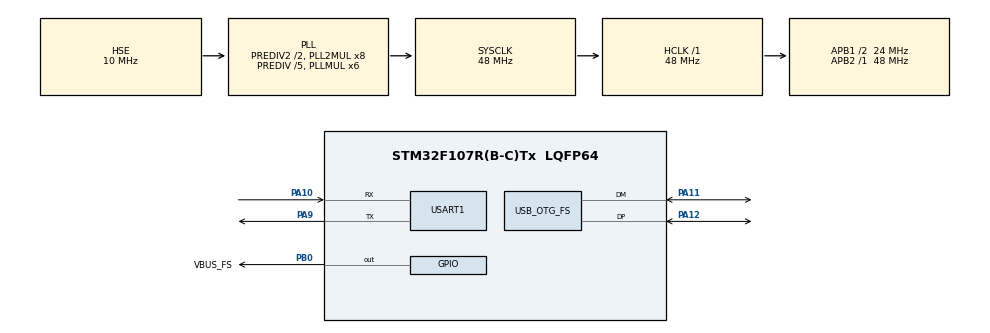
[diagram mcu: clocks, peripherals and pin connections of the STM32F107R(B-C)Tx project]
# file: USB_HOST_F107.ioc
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FREERTOS.Queues01=AppliEvent,10,uint16_t,0,Dynamic,NULL,NULL
FREERTOS.Tasks01=defaultTask,0,128,StartDefaultTask,Default,NULL,Dynamic,NULL,NULL;USB_t,0,256,USB_f,Default,NULL,Dynamic,NULL,NULL
FREERTOS.configTOTAL_HEAP_SIZE=8096
Mcu.Family=STM32F1
Mcu.Name=STM32F107R(B-C)Tx
Mcu.Package=LQFP64
NVIC.OTG_FS_IRQn=true\:5\:0\:false\:false\:true\:true\:false\:true
NVIC.PriorityGroup=NVIC_PRIORITYGROUP_4
NVIC.TIM1_UP_IRQn=true\:15\:0\:false\:false\:true\:false\:false\:true
NVIC.TimeBase=TIM1_UP_IRQn
NVIC.TimeBaseIP=TIM1
NVIC.USART1_IRQn=true\:5\:0\:false\:false\:true\:true\:true\:true
PA10.Mode=Asynchronous
PA10.Signal=USART1_RX
PA11.Mode=Host_Only
PA11.Signal=USB_OTG_FS_DM
PA12.Mode=Host_Only
PA12.Signal=USB_OTG_FS_DP
PA9.Mode=Asynchronous
PA9.Signal=USART1_TX
PB0.GPIO_Label=VBUS_FS
PB0.Signal=GPIO_Output
PD0-OSC_IN.Mode=HSE-External-Oscillator
PD0-OSC_IN.Signal=RCC_OSC_IN
PD1-OSC_OUT.Mode=HSE-External-Oscillator
PD1-OSC_OUT.Signal=RCC_OSC_OUT
ProjectManager.HeapSize=0x200
ProjectManager.StackSize=0x400
ProjectManager.TargetToolchain=STM32CubeIDE
RCC.AHBFreq_Value=48000000
RCC.APB1CLKDivider=RCC_HCLK_DIV2
RCC.APB1Freq_Value=24000000
RCC.APB1TimFreq_Value=48000000
RCC.APB2Freq_Value=48000000
RCC.APB2TimFreq_Value=48000000
RCC.HCLKFreq_Value=48000000
RCC.HSEDivPLL=RCC_HSE_PREDIV_DIV5
RCC.HSE_VALUE=10000000
RCC.PLLMUL=RCC_PLL_MUL6
RCC.PLLSourceVirtual=RCC_PLLSOURCE_HSE
RCC.Prediv1Source=RCC_PREDIV1_SOURCE_PLL2
RCC.Prediv2=RCC_HSE_PREDIV2_DIV2
RCC.SYSCLKFreq_VALUE=48000000
RCC.SYSCLKSource=RCC_SYSCLKSOURCE_PLLCLK
RCC.USBFreq_Value=48000000
RCC.USBPrescaler=RCC_USBCLKSOURCE_PLL_DIV2
USART1.VirtualMode=VM_ASYNC
USB_HOST.BSP.number=1
USB_HOST.USBH_HandleTypeDef=hUsbHostFS
USB_HOST.USBH_MAX_NUM_CONFIGURATION=2
USB_HOST.USBH_MAX_NUM_ENDPOINTS=2
USB_HOST.USBH_MAX_NUM_INTERFACES=2
USB_HOST.USBH_MAX_NUM_SUPPORTED_CLASS=2
USB_HOST.USBH_USE_OS-CDC_FS=0
USB_HOST.VirtualModeFS=Cdc
USB_HOST0.BSP.STBoard=false
USB_HOST0.BSP.api=Unknown
USB_HOST0.BSP.i2caddr=0
USB_HOST0.BSP.instance=PB0
USB_HOST0.BSP.ip=GPIO
USB_HOST0.BSP.mode=Output
USB_HOST0.BSP.name=Drive_VBUS_FS
USB_HOST0.BSP.solution=PB0
USB_OTG_FS.Sof_enable=ENABLE
USB_OTG_FS.VirtualMode=Host_Only
VP_FREERTOS_VS_CMSIS_V1.Mode=CMSIS_V1
VP_SYS_VS_ND.Mode=No_Debug
VP_SYS_VS_tim1.Mode=TIM1
VP_USB_HOST_VS_USB_HOST_CDC_FS.Mode=CDC_FS
board=custom

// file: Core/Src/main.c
/* USER CODE BEGIN Header */
/**
  ******************************************************************************
  * @file           : main.c
  * @brief          : Main program body
  ******************************************************************************
  * @attention
  *
  * <h2><center>&copy; Copyright (c) 2020 STMicroelectronics.
  * All rights reserved.</center></h2>
  *
  * This software component is licensed by ST under Ultimate Liberty license
  * SLA0044, the "License"; You may not use this file except in compliance with
  * the License. You may obtain a copy of the License at:
  *                             www.st.com/SLA0044
  *
  ******************************************************************************
  */
/* USER CODE END Header */
#include "main.h"
#include "cmsis_os.h"
#include "usb_host.h"
#include "usb_host.h"

UART_HandleTypeDef huart1;

osThreadId defaultTaskHandle;
osThreadId USB_tHandle;
osMessageQId AppliEventHandle;
/* USER CODE BEGIN PV */
extern ApplicationTypeDef Appli_state;
/* USER CODE END PV */

void SystemClock_Config(void);
static void MX_GPIO_Init(void);
static void MX_USART1_UART_Init(void);
void StartDefaultTask(void const * argument);
void USB_f(void const * argument);

/* USER CODE BEGIN PFP */
extern uint8_t uart_tx_msg[5];
extern uint8_t uart_rx_msg[5];
/* USER CODE END PFP */

int main(void)
{

  /* MCU Configuration--------------------------------------------------------*/

  /* Reset of all peripherals, Initializes the Flash interface and the Systick. */
  HAL_Init();

  /* Configure the system clock */
  SystemClock_Config();

  /* Initialize all configured peripherals */
  MX_GPIO_Init();
  MX_USART1_UART_Init();
  /* USER CODE BEGIN 2 */

  HAL_Delay(1000);
  HAL_UART_Transmit(&huart1,"start",5,100);
  HAL_UART_Receive_IT(&huart1,uart_tx_msg,1);

  /* USER CODE END 2 */

  /* Create the queue(s) */
  /* definition and creation of AppliEvent */
  osMessageQDef(AppliEvent, 10, uint16_t);
  AppliEventHandle = osMessageCreate(osMessageQ(AppliEvent), NULL);

  /* Create the thread(s) */
  /* definition and creation of defaultTask */
  osThreadDef(defaultTask, StartDefaultTask, osPriorityNormal, 0, 128);
  defaultTaskHandle = osThreadCreate(osThread(defaultTask), NULL);

  /* definition and creation of USB_t */
  osThreadDef(USB_t, USB_f, osPriorityNormal, 0, 256);
  USB_tHandle = osThreadCreate(osThread(USB_t), NULL);

  /* Start scheduler */
  osKernelStart();

  /* We should never get here as control is now taken by the scheduler */
  /* Infinite loop */
  while (1)
  {

    }
}

void SystemClock_Config(void)
{
  RCC_OscInitTypeDef RCC_OscInitStruct = {0};
  RCC_ClkInitTypeDef RCC_ClkInitStruct = {0};
  RCC_PeriphCLKInitTypeDef PeriphClkInit = {0};

  /** Initializes the RCC Oscillators according to the specified parameters
  * in the RCC_OscInitTypeDef structure.
  */
  RCC_OscInitStruct.OscillatorType = RCC_OSCILLATORTYPE_HSE;
  RCC_OscInitStruct.HSEState = RCC_HSE_ON;
  RCC_OscInitStruct.HSEPredivValue = RCC_HSE_PREDIV_DIV5;
  RCC_OscInitStruct.HSIState = RCC_HSI_ON;
  RCC_OscInitStruct.Prediv1Source = RCC_PREDIV1_SOURCE_PLL2;
  RCC_OscInitStruct.PLL.PLLState = RCC_PLL_ON;
  RCC_OscInitStruct.PLL.PLLSource = RCC_PLLSOURCE_HSE;
  RCC_OscInitStruct.PLL.PLLMUL = RCC_PLL_MUL6;
  RCC_OscInitStruct.PLL2.PLL2State = RCC_PLL2_ON;
  RCC_OscInitStruct.PLL2.PLL2MUL = RCC_PLL2_MUL8;
  RCC_OscInitStruct.PLL2.HSEPrediv2Value = RCC_HSE_PREDIV2_DIV2;
  if (HAL_RCC_OscConfig(&RCC_OscInitStruct) != HAL_OK)
  {
    Error_Handler();
  }
  /** Initializes the CPU, AHB and APB buses clocks
  */
  RCC_ClkInitStruct.ClockType = RCC_CLOCKTYPE_HCLK|RCC_CLOCKTYPE_SYSCLK
                              |RCC_CLOCKTYPE_PCLK1|RCC_CLOCKTYPE_PCLK2;
  RCC_ClkInitStruct.SYSCLKSource = RCC_SYSCLKSOURCE_PLLCLK;
  RCC_ClkInitStruct.AHBCLKDivider = RCC_SYSCLK_DIV1;
  RCC_ClkInitStruct.APB1CLKDivider = RCC_HCLK_DIV2;
  RCC_ClkInitStruct.APB2CLKDivider = RCC_HCLK_DIV1;

  if (HAL_RCC_ClockConfig(&RCC_ClkInitStruct, FLASH_LATENCY_1) != HAL_OK)
  {
    Error_Handler();
  }
  PeriphClkInit.PeriphClockSelection = RCC_PERIPHCLK_USB;
  PeriphClkInit.UsbClockSelection = RCC_USBCLKSOURCE_PLL_DIV2;
  if (HAL_RCCEx_PeriphCLKConfig(&PeriphClkInit) != HAL_OK)
  {
    Error_Handler();
  }
  /** Configure the Systick interrupt time
  */
  __HAL_RCC_PLLI2S_ENABLE();
}

static void MX_USART1_UART_Init(void)
{

  huart1.Instance = USART1;
  huart1.Init.BaudRate = 115200;
  huart1.Init.WordLength = UART_WORDLENGTH_8B;
  huart1.Init.StopBits = UART_STOPBITS_1;
  huart1.Init.Parity = UART_PARITY_NONE;
  huart1.Init.Mode = UART_MODE_TX_RX;
  huart1.Init.HwFlowCtl = UART_HWCONTROL_NONE;
  huart1.Init.OverSampling = UART_OVERSAMPLING_16;
  if (HAL_UART_Init(&huart1) != HAL_OK)
  {
    Error_Handler();
  }

}

static void MX_GPIO_Init(void)
{
  GPIO_InitTypeDef GPIO_InitStruct = {0};

  /* GPIO Ports Clock Enable */
  __HAL_RCC_GPIOD_CLK_ENABLE();
  __HAL_RCC_GPIOB_CLK_ENABLE();
  __HAL_RCC_GPIOA_CLK_ENABLE();

  /*Configure GPIO pin Output Level */
  HAL_GPIO_WritePin(VBUS_FS_GPIO_Port, VBUS_FS_Pin, GPIO_PIN_RESET);

  /*Configure GPIO pin : VBUS_FS_Pin */
  GPIO_InitStruct.Pin = VBUS_FS_Pin;
  GPIO_InitStruct.Mode = GPIO_MODE_OUTPUT_PP;
  GPIO_InitStruct.Pull = GPIO_NOPULL;
  GPIO_InitStruct.Speed = GPIO_SPEED_FREQ_LOW;
  HAL_GPIO_Init(VBUS_FS_GPIO_Port, &GPIO_InitStruct);

}

/* USER CODE BEGIN 4 */
void HAL_UART_RxCpltCallback(UART_HandleTypeDef *huart)
{
	send_function();
	HAL_UART_Receive_IT(&huart1,uart_tx_msg,1);
}

/* USER CODE END 4 */

void StartDefaultTask(void const * argument)
{
  /* init code for USB_HOST */
  MX_USB_HOST_Init();
  /* USER CODE BEGIN 5 */

  osEvent event;
  /* Infinite loop */
  for(;;)
  {
	  event = osMessageGet(AppliEventHandle, osWaitForever);

	  if(event.status == osEventMessage)
	  {
		switch(event.value.v)
		{
		 case APPLICATION_DISCONNECT:
		  Appli_state = APPLICATION_DISCONNECT;
		  HAL_UART_Transmit(&huart1,"ds",2,100);
		 break;

		 case APPLICATION_READY:
		   Appli_state = APPLICATION_READY;
		   HAL_UART_Transmit(&huart1,"rd",2,100);
		   send_function();
		 break;

		 case APPLICATION_START:
		   Appli_state = APPLICATION_START;
		   HAL_UART_Transmit(&huart1,"st",2,100);

		 break;
		 default:
		 break;
		 }
	   }
  }

  /* USER CODE END 5 */
}

void USB_f(void const * argument)
{
  for(;;)
  {
	osDelay(1);
  }
}

void HAL_TIM_PeriodElapsedCallback(TIM_HandleTypeDef *htim)
{
  if (htim->Instance == TIM1) {
    HAL_IncTick();
  }
}

void Error_Handler(void)
{
}

/************************ (C) COPYRIGHT STMicroelectronics *****END OF FILE****/
